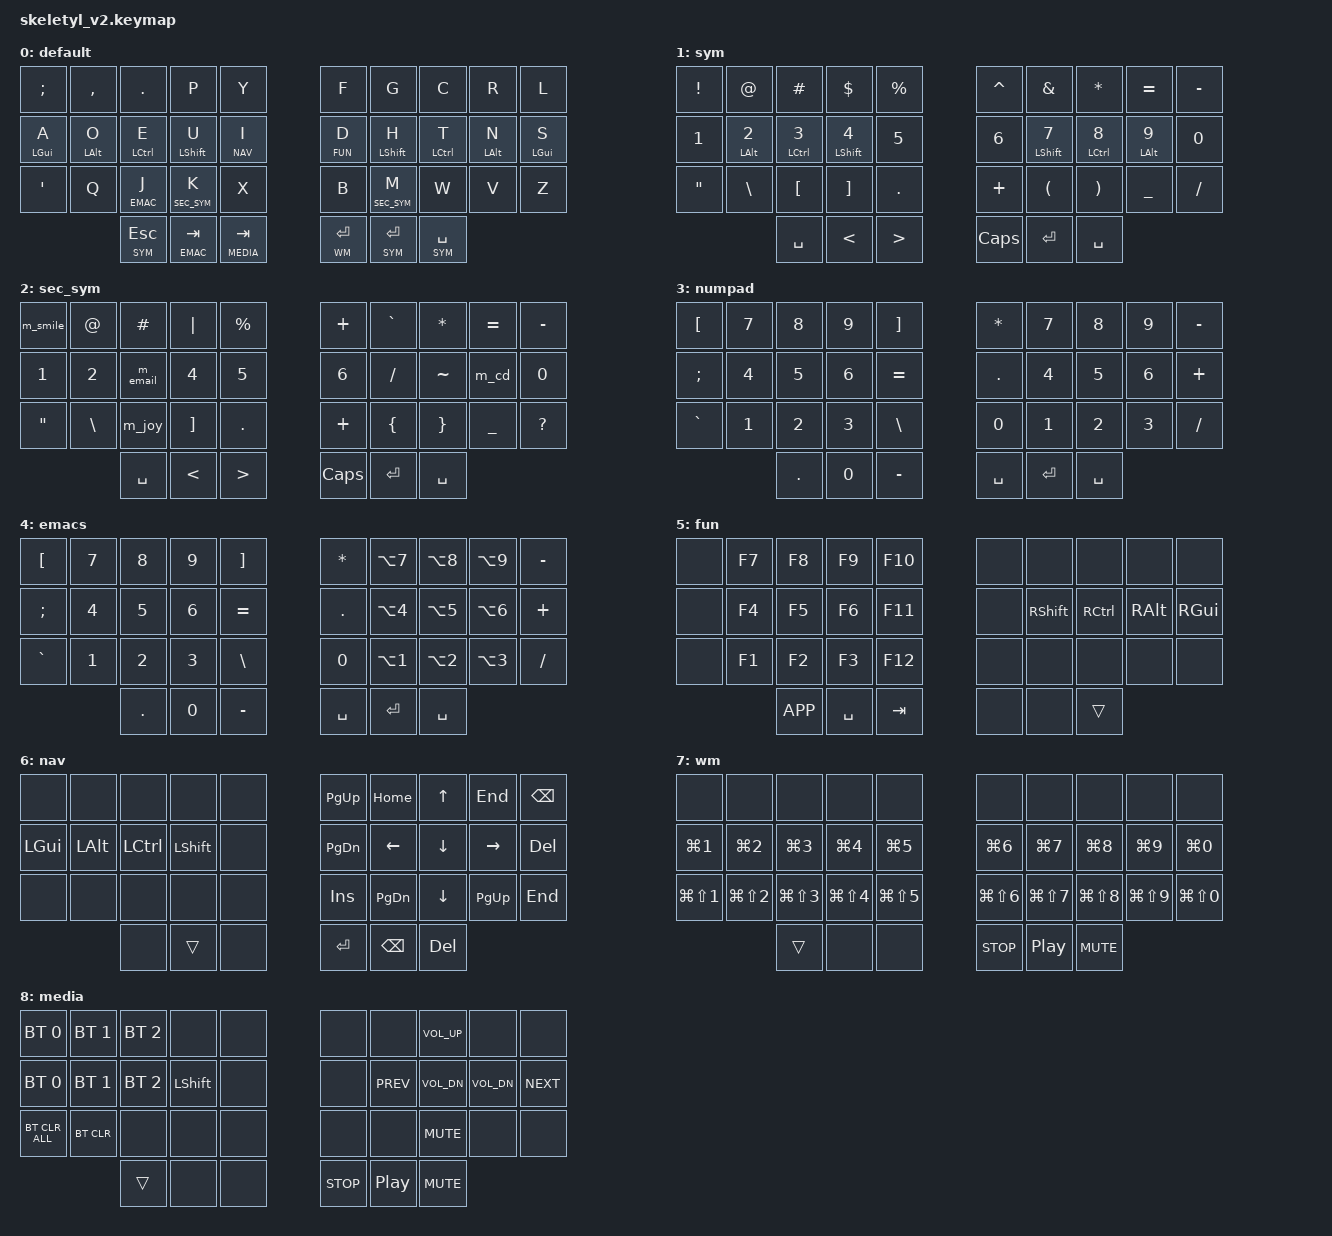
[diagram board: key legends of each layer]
#include <behaviors.dtsi>
#include <dt-bindings/zmk/keys.h>
#include <dt-bindings/zmk/bt.h>

// The default keymap is roughly on Miryoku layout
// (https://github.com/manna-harbour/miryoku).
// Customize on your own on the config folder.

#define DEFAULT    0
#define SYM     1
#define SEC_SYM     2
#define NUMPAD     3
#define EMAC     4
#define FUN     5
#define NAV     6
#define WM     7
#define MEDIA     8

/ {
  macros {
        m_smile: m_smile {
            compatible = "zmk,behavior-macro";
            #binding-cells = <0>;
	    	    wait-ms = <20>;
	    tap-ms = <20>;
            bindings
                = < &kp COLON  &kp RPAR>;
        };
        m_email: m_email {
            compatible = "zmk,behavior-macro";
            #binding-cells = <0>;
	    	    wait-ms = <20>;
	    tap-ms = <20>;
            bindings
	      = < &kp M &kp E  &kp T  &kp A &kp L &kp N  &kp W  &kp O  &kp O  &kp D  &kp AT  &kp G &kp M &kp A &kp I  &kp L  &kp DOT &kp C &kp O &kp M>;
        };
        m_joy: m_joy {
            compatible = "zmk,behavior-macro";
            #binding-cells = <0>;
	    	    wait-ms = <20>;
	    tap-ms = <20>;
            bindings
                = < &kp COLON &kp J &kp O &kp Y &kp COLON >;
        };
       m_cd: m_cd {
            compatible = "zmk,behavior-macro";
            #binding-cells = <0>;
	    wait-ms = <20>;
	    tap-ms = <20>;
            bindings
                = < &kp C &kp D &kp SPACE>;
        };

    };

  combos {
        compatible = "zmk,combos";
	  

        TAB_COMBO {
	  timeout-ms = <40>;
            bindings = <&kp TAB>;
            key-positions = <1 2>;
            layers = <0>;
        };
	LBRC_COMBO {
	  timeout-ms = <40>;
            bindings = <&kp LBRC>;
            key-positions = <21 22>;
            layers = <0>;
        };
	RBRC_COMBO {
	  timeout-ms = <40>;
            bindings = <&kp RBRC>;
            key-positions = < 27 28>;
            layers = <0>;
        };
	
        CAPS_WORD_COMBO {
	  	  timeout-ms = <40>;
            bindings = <&caps_word>;
            key-positions = <2 7 >;
            layers = <0>;
        };

        RETURN_COMBO  {
	  	  timeout-ms = <40>;
            bindings = <&kp ENTER>;
            key-positions = <26 27>;
            layers = <0>;
        };

        BACKSPACE_COMBO {
	  	  timeout-ms = <60>;
            bindings = <&kp BSPC>;
            key-positions = <6 7>;
            layers = <0 1 2 3>;
        };
	HYPHEN_COMBO {
	  	  timeout-ms = <40>;
            bindings = <&kp MINUS>;
            key-positions = <16 17 18>;
            layers = <0>;
        };
	UNDS_COMBO {
	  	  timeout-ms = <40>;
            bindings = <&kp UNDER>;
            key-positions = <26 27 28>;
            layers = <0>;
        };
  
    
    };
  
    behaviors {
    	  hml: home_row_mod_left {
            compatible = "zmk,behavior-hold-tap";
            #binding-cells = <2>;
            flavor = "balanced";
            require-prior-idle-ms = <125>;
            tapping-term-ms = <150>;
            quick-tap-ms = <175>;
            bindings = <&kp>, <&kp>;
            hold-trigger-key-positions =< 5 6 7 8 9 15 16 17 18 19 25 26 27 28 29 > ; // List of keys on the right side of the keyboard
            hold-trigger-on-release;
        };
        hmr: home_row_mod_right {
            compatible = "zmk,behavior-hold-tap";
            #binding-cells = <2>;
            flavor = "balanced";
            require-prior-idle-ms = <125>;
            tapping-term-ms = <150>;
            quick-tap-ms = <175>;
            bindings = <&kp>, <&kp>;
            hold-trigger-key-positions = <0 1 2 3 4 10 11 12 13 14 20 21 22 23 24  >; // List of keys on the left side of the keyboard
            hold-trigger-on-release;
        };

       // hm: homerow_mods {
       //     compatible = "zmk,behavior-hold-tap";
       //     label = "HOMEROW_MODS";
       //     #binding-cells = <2>;
       //     tapping-term-ms =<150 >;
       //     quick-tap-ms = <0>;
       //     flavor = "balanced";
       //     bindings = <&kp>, <&kp>;
    //    };
    };

    keymap {
        compatible = "zmk,keymap";

        default {
            bindings = <
	    &kp SEMI &kp COMMA  &kp DOT  &kp P   &kp Y                       &kp F  &kp G  &kp C  &kp R  &kp L
	    &hml LGUI A  &hml LALT O  &hml LCTRL E &hml LSHFT U &lt NAV I	     &lt FUN D  &hmr LSHFT H &hmr LCTRL T &hmr LALT N &hmr LGUI S
    	    &kp SQT     &kp  Q  &lt EMAC J &lt SEC_SYM K  &kp X              &kp B  &lt SEC_SYM M  &kp W   &kp V    &kp Z
                 &lt SYM ESC &lt EMAC TAB   &lt MEDIA TAB                    &lt WM ENTER &lt SYM ENTER    &lt SYM SPACE
            >;
        };
        sym {
            bindings = <
	    &kp EXCL    &kp AT    &kp HASH    &kp DOLLAR   &kp PERCENT	     &kp CARET &kp AMPS &kp STAR &kp EQUAL &kp MINUS 
	    &kp N1   &hml LALT N2    &hml LCTRL N3   &hml LSHFT N4  &kp N5      &kp N6   &hmr LSHFT N7    &hmr LCTRL N8   &hmr LALT N9  &kp N0 
	    &kp DQT   &kp BSLH    &kp LBKT      &kp RBKT   &kp DOT           &kp PLUS   &kp LPAR    &kp RPAR      &kp UNDER   &kp SLASH
	                &kp SPACE   &kp LT &kp GT 		    	     &kp CAPS   &kp ENTER &kp SPACE                                              
            >;
        };

	sec_sym {
            bindings = <
    	    &m_smile    &kp AT    &kp HASH    &kp PIPE   &kp PERCENT	     &kp PLUS &kp GRAVE &kp STAR &kp EQUAL &kp MINUS 
    	    &kp N1   &kp N2    &m_email   &kp N4  &kp N5                     &kp N6   &kp FSLH    &kp TILDE   &m_cd  &kp N0 
    	    &kp DQT   &kp BSLH    &m_joy      &kp RBKT   &kp DOT             &kp PLUS   &kp LBRC    &kp RBRC      &kp UNDER   &kp QMARK
                       &kp SPACE   &kp LT &kp GT    	     		     &kp CAPS   &kp ENTER &kp SPACE                                              
            >;
        };
	numpad {
            bindings = <
    &kp LBKT    &kp N7  &kp N8  &kp N9  &kp RBKT                        &kp STAR &kp N7  &kp N8  &kp N9  &kp MINUS 
    &kp SEMI    &kp N4  &kp N5  &kp N6  &kp EQUAL                       &kp DOT &kp N4  &kp N5  &kp N6  &kp PLUS
    &kp GRAVE   &kp N1  &kp N2  &kp N3  &kp BSLH                        &kp N0 &kp N1  &kp N2  &kp N3  &kp FSLH
                                &kp DOT &kp N0      &kp MINUS   &kp SPACE   &kp ENTER  &kp SPACE
	      
            >;
        };
	emacs {
            bindings = <
    &kp LBKT    &kp N7  &kp N8  &kp N9  &kp RBKT                        &kp STAR &kp LA(N7)  &kp LA(N8)  &kp LA(N9)  &kp MINUS 
    &kp SEMI    &kp N4  &kp N5  &kp N6  &kp EQUAL                       &kp DOT  &kp LA(N4)  &kp LA(N5)  &kp LA(N6)  &kp PLUS
    &kp GRAVE   &kp N1  &kp N2  &kp N3  &kp BSLH                        &kp N0   &kp LA(N1)  &kp LA(N2)  &kp LA(N3)  &kp FSLH
                                &kp DOT &kp N0      &kp MINUS   &kp SPACE   &kp ENTER  &kp SPACE
	      
            >;
        };
        fun {
            bindings = <
     &none &kp F7  &kp F8  &kp F9 &kp F10                                 &none   &none       &none       &none       &none
     &none &kp F4  &kp F5  &kp F6 &kp F11                                  &none   &kp RSHFT   &kp RCTRL   &kp RALT    &kp RGUI
     &none &kp F1  &kp F2  &kp F3 &kp F12                       &none   &none       &none       &none       &none
                            &kp K_APP   &kp SPACE       &kp TAB     &none   &none   &trans
            >;
        };

        nav {
            bindings = <
    &none       &none       &none       &none       &none                           &kp PG_UP    &kp HOME  &kp UP  &kp END &kp BSPC 
    &kp LGUI    &kp LALT    &kp LCTRL   &kp LSHFT   &none                           &kp PG_DN    &kp LEFT    &kp DOWN    &kp RIGHT       &kp DEL
    &none       &none       &none       &none       &none                           &kp INS     &kp PG_DN    &kp DOWN    &kp PG_UP   &kp END
                                        &none       &trans  &none       &kp RET     &kp BSPC    &kp DEL     
            >;
        };

	wm {
            bindings = <
	    &none       &none       &none       &none       &none                           &none       &none       &none           &none           &none
	      &kp LG(N1)    &kp LG(N2)     &kp LG(N3)   &kp LG(N4)   &kp LG(N5)     &kp LG(N6)    &kp LG(N7)     &kp LG(N8)   &kp LG(N9)   &kp LG(N0)
	      &kp LG(LS(N1)) &kp LG(LS(N2))  &kp LG(LS(N3)) &kp LG(LS(N4)) &kp LG(LS(N5))  &kp LG(LS(N6)) &kp LG(LS(N7)) &kp LG(LS(N8)) &kp LG(LS(N9)) &kp LG(LS(N0))

	    
                                        &trans      &none   &none       &kp C_STOP  &kp C_PP    &kp C_MUTE     
            >;
        };

        

        media {
            bindings = <
    &bt BT_SEL 0 &bt BT_SEL 1 &bt BT_SEL 2              &none       &none                           &none       &none       &kp C_VOL_UP           &none           &none
    &bt BT_SEL 0 &bt BT_SEL 1 &bt BT_SEL 2    &kp LSHFT   &none                           &none       &kp C_PREV  &kp C_VOL_DN    &kp C_VOL_DN    &kp C_NEXT
    &bt BT_CLR_ALL       &bt BT_CLR       &none       &none       &none                           &none       &none       &kp C_MUTE           &none           &none
                                        &trans      &none   &none       &kp C_STOP  &kp C_PP    &kp C_MUTE     
            >;
        };

    }
	;}
;
